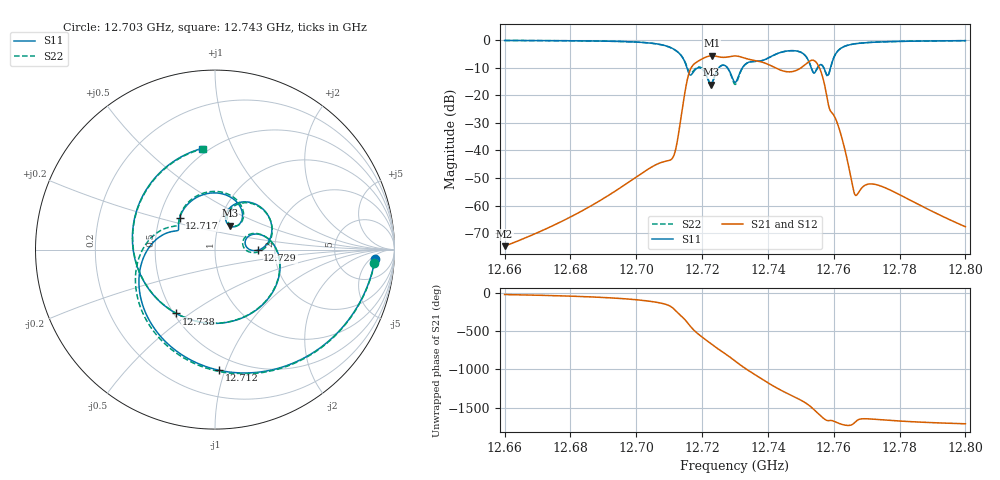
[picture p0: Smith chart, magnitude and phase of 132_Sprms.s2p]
! TOUCHSTONE file generated by CST MICROWAVE STUDIO
! Date and time: Wed Jul 31 17:28:26 2024
! Project name: WaveGuide_BPF-Ver4.1_U-shape_Ku_T3_C4_CWA_2.cst
! Parameters = {cavity_h=16; cavity_l0=10; cavity_l1=15.1742; cavity_l2=16.8288; cavity_l3=17.0803; cavity_l4=17.2344; cavity_l5=17.1303; cavity_l6=17.5769; cavity_r=2.5; cavity_screw_l=0.5; cavity_screw_r=1.5; cavity_w=8; iris_h00=0; iris_h01=8.8149; iris_h112=0; iris_h12=5.6049; iris_h211=3.6565; 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
! Header version: 2018
! Port assignment regex: !\s*Touchstone port\s*([0-9]+)\s*=\s*(CST MWS port|CST DS port)\s*([0-9]+|Zmin|Zmax)\s*\(\"(.*)\"\)(\s*mode\s*([0-9]+))?.*
! Touchstone port assignment:
! Touchstone port 1 = CST MWS port 1 ("")
! Touchstone port 2 = CST MWS port 2 ("")
# GHz S RI R 50
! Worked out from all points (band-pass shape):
!   5001 points, 12.66 GHz to 12.8 GHz, reference 50 ohm
!   highest |S21| = -5.70 dB at 12.723 GHz (marker M1); lowest = -74.7 dB at 12.66 GHz (marker M2)
!   |S21| within 3 dB of the highest: 12.71756 GHz to 12.73986 GHz (22.29 MHz wide, 0.175 % of centre); 12.7515 GHz to 12.75505 GHz (3.541 MHz wide, 0.0278 % of centre)
!   lowest |S11| = -16.1 dB at 12.723 GHz (marker M3), VSWR 1.37, Z = 56.7 + j15.4 ohm
!   |S11| at or under -10 dB: 12.71538 GHz to 12.72514 GHz (9.755 MHz wide, 0.0767 % of centre); 12.7277 GHz to 12.73227 GHz (4.572 MHz wide, 0.0359 % of centre); 12.75696 GHz to 12.75902 GHz (2.068 MHz wide, 0.0162 % of centre)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
!   |S22| runs from -16.1 to -0.1 dB; largest |S21 - S12| = 1.4e-09
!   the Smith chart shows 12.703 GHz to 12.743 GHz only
!   S11 on the Smith chart (normalised r, x): 12.703 GHz: 14, -7; 12.712 GHz: 0.39, -0.95; 12.717 GHz: 0.64, +0.24; 12.729 GHz: 1.62, -0.01; 12.738 GHz: 0.51, -0.44; 12.743 GHz: 0.46, +0.76
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12.66  0.2293 0.957  0.000176 -5.51e-05  0.000176 -5.51e-05  0.2349 0.9556
12.68335  0.5931 0.7657  0.000579 -0.000545  0.000579 -0.000545  0.6007 0.7594
12.70329  0.8924 -0.0519  -0.000847 -0.00438  -0.000847 -0.00438  0.8884 -0.0774
12.70668  0.7602 -0.3694  -0.00314 -0.00484  -0.00314 -0.00484  0.742 -0.3974
12.71163  0.0211 -0.6719  -0.00722 0.00501  -0.00722 0.00501  -0.0254 -0.6673
12.71734  -0.197 0.1757  -0.1642 -0.3166  -0.1642 -0.3166  -0.1902 0.2015
12.7197  0.0686 0.3014  -0.4039 0.1871  -0.4039 0.1871  0.0797 0.3058
12.72264  0.0816 0.1329  0.2645 0.4453  0.2645 0.4453  0.0884 0.1369
12.723  0.0656 0.1496  0.3507 0.3826  0.3507 0.3826  0.0734 0.1532
12.7288  0.238 -0.00345  -0.3181 -0.3945  -0.3181 -0.3945  0.2291 -0.0158
12.73  0.1688 0.029  -0.5051 -0.104  -0.5051 -0.104  0.1554 0.0243
12.73319  0.3611 -0.0655  -0.0106 0.4659  -0.0106 0.4659  0.3587 -0.0601
12.7375  -0.2166 -0.3555  0.3618 -0.1911  0.3618 -0.1911  -0.2175 -0.3543
12.7428  -0.0751 0.5628  -0.2939 -0.0751  -0.2939 -0.0751  -0.0645 0.5627
12.74758  0.6421 0.0285  0.00166 0.2698  0.00166 0.2698  0.6424 0.00976
12.75335  -0.0114 -0.2926  0.2064 -0.3791  0.2064 -0.3791  -0.0185 -0.2936
12.7573  -0.2737 -0.0756  -0.1207 0.083  -0.1207 0.083  -0.2715 -0.0727
12.75904  0.1787 0.2633  -0.0337 0.0391  -0.0337 0.0391  0.1941 0.2492
12.76144  0.578 -0.302  -0.00218 0.027  -0.00218 0.027  0.5656 -0.3332
12.76646  0.000543 -0.8554  -0.000472 0.0015  -0.000472 0.0015  -0.0281 -0.8575
12.77668  -0.7266 -0.5895  -0.00134 0.00146  -0.00134 0.00146  -0.7386 -0.5762
12.8  -0.9693 0.1067  2.11e-05 0.000415  2.11e-05 0.000415  -0.9687 0.1154
